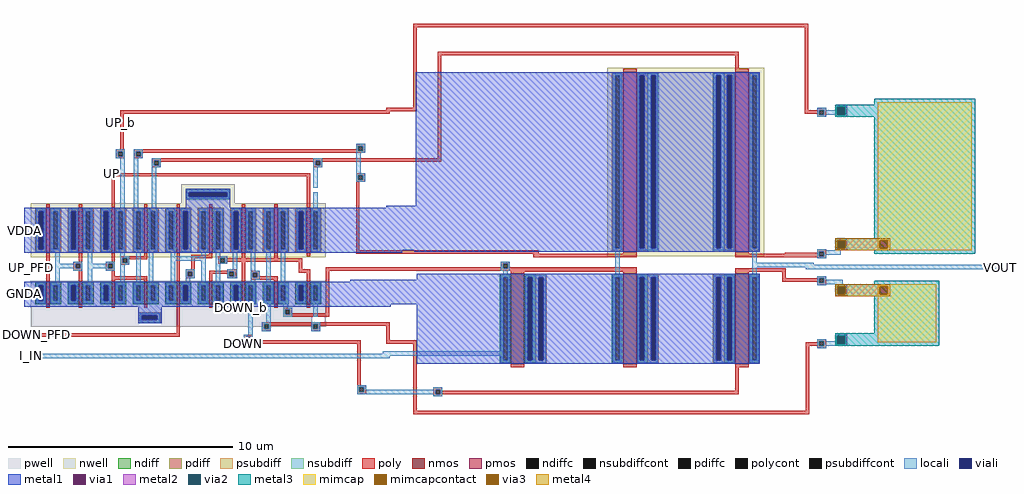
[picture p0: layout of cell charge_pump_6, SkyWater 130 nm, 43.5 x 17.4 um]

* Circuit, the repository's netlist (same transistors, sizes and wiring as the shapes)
* NGSPICE file created from charge_pump_6.ext - technology: sky130A

**.subckt charge_pump_6
X0 DOWN DOWN_b VDDA VDDA sky130_fd_pr__pfet_01v8 ad=1 pd=5 as=1 ps=5 w=2 l=0.15
X1 UP_b UP GNDA GNDA sky130_fd_pr__nfet_01v8 ad=0.5 pd=3 as=0.5 ps=3 w=1 l=0.15
X2 GNDA I_IN I_IN GNDA sky130_fd_pr__nfet_01v8 ad=2 pd=9 as=2 ps=9 w=4 l=0.6
X3 UP a_n5970_20# GNDA GNDA sky130_fd_pr__nfet_01v8 ad=0.5 pd=3 as=0.5 ps=3 w=1 l=0.15
X4 UP_b UP VDDA VDDA sky130_fd_pr__pfet_01v8 ad=1 pd=5 as=1 ps=5 w=2 l=0.15
X5 a_n5970_20# UP_PFD GNDA GNDA sky130_fd_pr__nfet_01v8 ad=0.5 pd=3 as=0.5 ps=3 w=1 l=0.15
X6 a_n3650_20# DOWN_b GNDA GNDA sky130_fd_pr__nfet_01v8 ad=0.5 pd=3 as=0.5 ps=3 w=1 l=0.15
X7 I_IN DOWN DOWN GNDA sky130_fd_pr__nfet_01v8 ad=0.5 pd=3 as=0.5 ps=3 w=1 l=0.15
X8 DOWN_b GNDA a_n4940_20# VDDA sky130_fd_pr__pfet_01v8 ad=1 pd=5 as=1 ps=5 w=2 l=0.15
X9 VOUT UP_b VDDA VDDA sky130_fd_pr__pfet_01v8 ad=4 pd=17 as=4 ps=17 w=8 l=0.6
X10 GNDA I_IN a_n960_n510# GNDA sky130_fd_pr__nfet_01v8 ad=2 pd=9 as=2 ps=9 w=4 l=0.6
X11 DOWN DOWN sky130_fd_pr__cap_mim_m3_1 l=2.6 w=2.6
X12 UP a_n5970_20# VDDA VDDA sky130_fd_pr__pfet_01v8 ad=1 pd=5 as=1 ps=5 w=2 l=0.15
X13 a_n3650_480# UP VDDA VDDA sky130_fd_pr__pfet_01v8 ad=1 pd=5 as=1 ps=5 w=2 l=0.15
X14 DOWN DOWN_b GNDA GNDA sky130_fd_pr__nfet_01v8 ad=0.5 pd=3 as=0.5 ps=3 w=1 l=0.15
X15 UP_b UP_b sky130_fd_pr__cap_mim_m3_1 l=6.6 w=4.2
X16 DOWN_b VDDA a_n4940_20# GNDA sky130_fd_pr__nfet_01v8 ad=0.5 pd=3 as=0.5 ps=3 w=1 l=0.15
X17 a_n5970_20# UP_PFD VDDA VDDA sky130_fd_pr__pfet_01v8 ad=1 pd=5 as=1 ps=5 w=2 l=0.15
X18 GNDA DOWN_PFD a_n4940_20# GNDA sky130_fd_pr__nfet_01v8 ad=0.5 pd=3 as=0.5 ps=3 w=1 l=0.15
X19 VDDA a_n5230_20# a_n960_n510# VDDA sky130_fd_pr__pfet_01v8 ad=4 pd=17 as=4 ps=17 w=8 l=0.6
X20 VDDA DOWN_PFD a_n4940_20# VDDA sky130_fd_pr__pfet_01v8 ad=1 pd=5 as=1 ps=5 w=2 l=0.15
X21 VOUT DOWN GNDA GNDA sky130_fd_pr__nfet_01v8 ad=2 pd=9 as=2 ps=9 w=4 l=0.6
X22 UP_b UP_b a_n5230_20# VDDA sky130_fd_pr__pfet_01v8 ad=1 pd=5 as=1 ps=5 w=2 l=0.15
X23 I_IN DOWN_b DOWN VDDA sky130_fd_pr__pfet_01v8 ad=1 pd=5 as=1 ps=5 w=2 l=0.15
X24 UP_b UP a_n5230_20# GNDA sky130_fd_pr__nfet_01v8 ad=0.5 pd=3 as=0.5 ps=3 w=1 l=0.15
.ends

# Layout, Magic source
magic
tech sky130A
<< nwell >>
rect -2400 460 -2160 545
rect -3070 220 -1755 460
rect -500 225 200 1065
<< pwell >>
rect -2565 120 -2550 125
rect -3070 -45 -1755 115
rect -3070 -70 -1815 -45
rect -1760 -70 -1755 -45
rect -3070 -90 -1755 -70
rect -2100 -165 -2080 -90
<< nmos >>
rect -3000 10 -2985 110
rect -2855 10 -2840 110
rect -2710 10 -2695 110
rect -2565 10 -2550 110
rect -2420 10 -2405 110
rect -2275 10 -2260 110
rect -2130 10 -2115 110
rect -1985 10 -1970 110
rect -1840 10 -1825 110
rect -930 -255 -870 145
rect -430 -255 -370 145
rect 70 -255 130 145
<< pmos >>
rect -3000 240 -2985 440
rect -2855 240 -2840 440
rect -2710 240 -2695 440
rect -2565 240 -2550 440
rect -2420 240 -2405 440
rect -2275 240 -2260 440
rect -2130 240 -2115 440
rect -1985 240 -1970 440
rect -1840 240 -1825 440
rect -430 245 -370 1045
rect 70 245 130 1045
<< ndiff >>
rect -3050 95 -3000 110
rect -3050 25 -3035 95
rect -3015 25 -3000 95
rect -3050 10 -3000 25
rect -2985 95 -2935 110
rect -2985 25 -2970 95
rect -2950 25 -2935 95
rect -2985 10 -2935 25
rect -2905 95 -2855 110
rect -2905 25 -2890 95
rect -2870 25 -2855 95
rect -2905 10 -2855 25
rect -2840 95 -2790 110
rect -2840 25 -2825 95
rect -2805 25 -2790 95
rect -2840 10 -2790 25
rect -2760 95 -2710 110
rect -2760 25 -2745 95
rect -2725 25 -2710 95
rect -2760 10 -2710 25
rect -2695 95 -2645 110
rect -2695 25 -2680 95
rect -2660 25 -2645 95
rect -2695 10 -2645 25
rect -2615 95 -2565 110
rect -2615 25 -2600 95
rect -2580 25 -2565 95
rect -2615 10 -2565 25
rect -2550 95 -2500 110
rect -2550 25 -2535 95
rect -2515 25 -2500 95
rect -2550 10 -2500 25
rect -2470 95 -2420 110
rect -2470 25 -2455 95
rect -2435 25 -2420 95
rect -2470 10 -2420 25
rect -2405 95 -2355 110
rect -2405 25 -2390 95
rect -2370 25 -2355 95
rect -2405 10 -2355 25
rect -2325 95 -2275 110
rect -2325 25 -2310 95
rect -2290 25 -2275 95
rect -2325 10 -2275 25
rect -2260 95 -2210 110
rect -2260 25 -2245 95
rect -2225 25 -2210 95
rect -2260 10 -2210 25
rect -2180 95 -2130 110
rect -2180 25 -2165 95
rect -2145 25 -2130 95
rect -2180 10 -2130 25
rect -2115 95 -2065 110
rect -2115 25 -2100 95
rect -2080 25 -2065 95
rect -2115 10 -2065 25
rect -2035 95 -1985 110
rect -2035 25 -2020 95
rect -2000 25 -1985 95
rect -2035 10 -1985 25
rect -1970 95 -1920 110
rect -1970 25 -1955 95
rect -1935 25 -1920 95
rect -1970 10 -1920 25
rect -1890 95 -1840 110
rect -1890 25 -1875 95
rect -1855 25 -1840 95
rect -1890 10 -1840 25
rect -1825 95 -1775 110
rect -1825 25 -1810 95
rect -1790 25 -1775 95
rect -1825 10 -1775 25
rect -980 130 -930 145
rect -980 -240 -965 130
rect -945 -240 -930 130
rect -980 -255 -930 -240
rect -870 130 -820 145
rect -870 -240 -855 130
rect -835 -240 -820 130
rect -870 -255 -820 -240
rect -480 130 -430 145
rect -480 -240 -465 130
rect -445 -240 -430 130
rect -480 -255 -430 -240
rect -370 130 -320 145
rect -370 -240 -355 130
rect -335 -240 -320 130
rect -370 -255 -320 -240
rect 20 130 70 145
rect 20 -240 35 130
rect 55 -240 70 130
rect 20 -255 70 -240
rect 130 130 180 145
rect 130 -240 145 130
rect 165 -240 180 130
rect 130 -255 180 -240
<< pdiff >>
rect -480 1030 -430 1045
rect -3050 425 -3000 440
rect -3050 255 -3035 425
rect -3015 255 -3000 425
rect -3050 240 -3000 255
rect -2985 425 -2935 440
rect -2985 255 -2970 425
rect -2950 255 -2935 425
rect -2985 240 -2935 255
rect -2905 425 -2855 440
rect -2905 255 -2890 425
rect -2870 255 -2855 425
rect -2905 240 -2855 255
rect -2840 425 -2790 440
rect -2840 255 -2825 425
rect -2805 255 -2790 425
rect -2840 240 -2790 255
rect -2760 425 -2710 440
rect -2760 255 -2745 425
rect -2725 255 -2710 425
rect -2760 240 -2710 255
rect -2695 425 -2645 440
rect -2695 255 -2680 425
rect -2660 255 -2645 425
rect -2695 240 -2645 255
rect -2615 425 -2565 440
rect -2615 255 -2600 425
rect -2580 255 -2565 425
rect -2615 240 -2565 255
rect -2550 425 -2500 440
rect -2550 255 -2535 425
rect -2515 255 -2500 425
rect -2550 240 -2500 255
rect -2470 425 -2420 440
rect -2470 255 -2455 425
rect -2435 255 -2420 425
rect -2470 240 -2420 255
rect -2405 425 -2355 440
rect -2405 255 -2390 425
rect -2370 255 -2355 425
rect -2405 240 -2355 255
rect -2325 425 -2275 440
rect -2325 255 -2310 425
rect -2290 255 -2275 425
rect -2325 240 -2275 255
rect -2260 425 -2210 440
rect -2260 255 -2245 425
rect -2225 255 -2210 425
rect -2260 240 -2210 255
rect -2180 425 -2130 440
rect -2180 255 -2165 425
rect -2145 255 -2130 425
rect -2180 240 -2130 255
rect -2115 425 -2065 440
rect -2115 255 -2100 425
rect -2080 255 -2065 425
rect -2115 240 -2065 255
rect -2035 425 -1985 440
rect -2035 255 -2020 425
rect -2000 255 -1985 425
rect -2035 240 -1985 255
rect -1970 425 -1920 440
rect -1970 255 -1955 425
rect -1935 255 -1920 425
rect -1970 240 -1920 255
rect -1890 425 -1840 440
rect -1890 255 -1875 425
rect -1855 255 -1840 425
rect -1890 240 -1840 255
rect -1825 425 -1775 440
rect -1825 255 -1810 425
rect -1790 255 -1775 425
rect -1825 240 -1775 255
rect -480 260 -465 1030
rect -445 260 -430 1030
rect -480 245 -430 260
rect -370 1030 -320 1045
rect -370 260 -355 1030
rect -335 260 -320 1030
rect -370 245 -320 260
rect 20 1030 70 1045
rect 20 260 35 1030
rect 55 260 70 1030
rect 20 245 70 260
rect 130 1030 180 1045
rect 130 260 145 1030
rect 165 260 180 1030
rect 130 245 180 260
<< ndiffc >>
rect -3035 25 -3015 95
rect -2970 25 -2950 95
rect -2890 25 -2870 95
rect -2825 25 -2805 95
rect -2745 25 -2725 95
rect -2680 25 -2660 95
rect -2600 25 -2580 95
rect -2535 25 -2515 95
rect -2455 25 -2435 95
rect -2390 25 -2370 95
rect -2310 25 -2290 95
rect -2245 25 -2225 95
rect -2165 25 -2145 95
rect -2100 25 -2080 95
rect -2020 25 -2000 95
rect -1955 25 -1935 95
rect -1875 25 -1855 95
rect -1810 25 -1790 95
rect -965 -240 -945 130
rect -855 -240 -835 130
rect -465 -240 -445 130
rect -355 -240 -335 130
rect 35 -240 55 130
rect 145 -240 165 130
<< pdiffc >>
rect -3035 255 -3015 425
rect -2970 255 -2950 425
rect -2890 255 -2870 425
rect -2825 255 -2805 425
rect -2745 255 -2725 425
rect -2680 255 -2660 425
rect -2600 255 -2580 425
rect -2535 255 -2515 425
rect -2455 255 -2435 425
rect -2390 255 -2370 425
rect -2310 255 -2290 425
rect -2245 255 -2225 425
rect -2165 255 -2145 425
rect -2100 255 -2080 425
rect -2020 255 -2000 425
rect -1955 255 -1935 425
rect -1875 255 -1855 425
rect -1810 255 -1790 425
rect -465 260 -445 1030
rect -355 260 -335 1030
rect 35 260 55 1030
rect 145 260 165 1030
<< psubdiff >>
rect -2590 -40 -2490 -25
rect -2590 -60 -2575 -40
rect -2505 -60 -2490 -40
rect -2590 -75 -2490 -60
rect -820 130 -770 145
rect -820 -240 -805 130
rect -785 -240 -770 130
rect -820 -255 -770 -240
rect -320 130 -270 145
rect -320 -240 -305 130
rect -285 -240 -270 130
rect -320 -255 -270 -240
rect -30 130 20 145
rect -30 -240 -15 130
rect 5 -240 20 130
rect -30 -255 20 -240
<< nsubdiff >>
rect -2380 510 -2180 525
rect -2380 490 -2365 510
rect -2195 490 -2180 510
rect -2380 475 -2180 490
rect -320 1030 -270 1045
rect -320 260 -305 1030
rect -285 260 -270 1030
rect -320 245 -270 260
rect -30 1030 20 1045
rect -30 260 -15 1030
rect 5 260 20 1030
rect -30 245 20 260
<< psubdiffcont >>
rect -2575 -60 -2505 -40
rect -805 -240 -785 130
rect -305 -240 -285 130
rect -15 -240 5 130
<< nsubdiffcont >>
rect -2365 490 -2195 510
rect -305 260 -285 1030
rect -15 260 5 1030
<< poly >>
rect -1365 1245 395 1260
rect -1365 885 -1350 1245
rect -1485 875 -1350 885
rect -2670 870 -1350 875
rect -1255 1120 85 1135
rect -2670 860 -1470 870
rect -2670 700 -2655 860
rect -1620 715 -1580 725
rect -1620 700 -1610 715
rect -2690 690 -2650 700
rect -2690 670 -2680 690
rect -2660 670 -2650 690
rect -2690 660 -2650 670
rect -2610 695 -1610 700
rect -1590 695 -1580 715
rect -2610 690 -1580 695
rect -2610 670 -2600 690
rect -2580 685 -1580 690
rect -2580 670 -2570 685
rect -2610 660 -2570 670
rect -1255 660 -1240 1120
rect 70 1060 85 1120
rect -430 1045 -370 1060
rect 70 1045 130 1060
rect -2530 650 -1240 660
rect -2530 630 -2520 650
rect -2500 645 -1800 650
rect -2500 630 -2490 645
rect -2530 620 -2490 630
rect -1810 630 -1800 645
rect -1780 645 -1240 650
rect -1780 630 -1770 645
rect -1810 620 -1770 630
rect -2710 580 -1825 595
rect -3000 440 -2985 455
rect -2855 440 -2840 455
rect -2710 440 -2695 580
rect -2565 440 -2550 455
rect -2420 440 -2405 455
rect -2275 440 -2260 455
rect -2130 440 -2115 455
rect -1985 440 -1970 455
rect -1840 440 -1825 580
rect -1620 585 -1580 595
rect -1620 565 -1610 585
rect -1590 565 -1580 585
rect -1620 555 -1580 565
rect -1620 250 -1605 555
rect -3000 185 -2985 240
rect -2855 200 -2840 240
rect -2710 200 -2695 240
rect -2565 225 -2550 240
rect -3065 170 -2985 185
rect -3000 110 -2985 170
rect -2880 190 -2840 200
rect -2880 170 -2870 190
rect -2850 170 -2840 190
rect -2880 160 -2840 170
rect -2735 190 -2695 200
rect -2735 170 -2725 190
rect -2705 170 -2695 190
rect -2670 215 -2550 225
rect -2670 195 -2660 215
rect -2640 210 -2550 215
rect -2640 195 -2630 210
rect -2670 185 -2630 195
rect -2735 160 -2695 170
rect -2855 110 -2840 160
rect -2710 135 -2695 160
rect -2710 120 -2550 135
rect -2710 110 -2695 120
rect -2565 110 -2550 120
rect -2420 110 -2405 240
rect -2275 230 -2260 240
rect -2355 215 -2260 230
rect -2235 215 -2195 225
rect -2130 215 -2115 240
rect -1985 215 -1970 240
rect -1840 225 -1825 240
rect -1620 235 -805 250
rect 380 875 395 1245
rect 435 875 475 885
rect 380 860 445 875
rect 435 855 445 860
rect 465 855 475 875
rect 435 845 475 855
rect 435 245 475 255
rect -430 235 -370 245
rect -830 220 -370 235
rect 70 235 130 245
rect 435 240 445 245
rect 290 235 445 240
rect 70 225 445 235
rect 465 225 475 245
rect 70 220 475 225
rect 435 215 475 220
rect -2355 165 -2340 215
rect -2235 195 -2225 215
rect -2205 200 -1860 215
rect -2205 195 -2195 200
rect -2235 190 -2195 195
rect -2380 155 -2340 165
rect -2195 160 -2155 165
rect -2380 135 -2370 155
rect -2350 135 -2340 155
rect -2380 125 -2340 135
rect -2275 155 -2155 160
rect -2275 145 -2185 155
rect -2275 110 -2260 145
rect -2195 135 -2185 145
rect -2165 135 -2155 155
rect -2195 125 -2155 135
rect -2130 110 -2115 200
rect -1875 165 -1860 200
rect -975 190 -935 200
rect -975 175 -965 190
rect -1755 170 -965 175
rect -945 175 -935 190
rect -945 170 -370 175
rect -2090 150 -2050 160
rect -1875 150 -1825 165
rect -2090 130 -2080 150
rect -2060 135 -2050 150
rect -2060 130 -1970 135
rect -2090 120 -1970 130
rect -1985 110 -1970 120
rect -1840 110 -1825 150
rect -1755 160 -370 170
rect -3000 -5 -2985 10
rect -2855 -5 -2840 10
rect -2710 -5 -2695 10
rect -2565 -5 -2550 10
rect -2420 -120 -2405 10
rect -2275 -5 -2260 10
rect -2130 -5 -2115 10
rect -1985 -5 -1970 10
rect -1840 -5 -1825 10
rect -1945 -15 -1905 -5
rect -1945 -35 -1935 -15
rect -1915 -30 -1905 -15
rect -1755 -30 -1740 160
rect -930 155 -370 160
rect -930 145 -870 155
rect -430 145 -370 155
rect 70 155 295 170
rect 70 145 130 155
rect -1915 -35 -1740 -30
rect -1945 -45 -1740 -35
rect -2040 -80 -1470 -70
rect -2040 -100 -2030 -80
rect -2010 -85 -1810 -80
rect -2010 -100 -2000 -85
rect -2040 -110 -2000 -100
rect -1820 -100 -1810 -85
rect -1790 -85 -1470 -80
rect -1790 -100 -1780 -85
rect -1820 -110 -1780 -100
rect -3065 -135 -2405 -120
rect -2120 -135 -2080 -125
rect -2120 -155 -2110 -135
rect -2090 -150 -2080 -135
rect -1485 -150 -1470 -85
rect -2090 -155 -1600 -150
rect -2120 -165 -1600 -155
rect -1485 -165 -1350 -150
rect -1615 -350 -1600 -165
rect -1615 -360 -1575 -350
rect -1615 -380 -1605 -360
rect -1585 -380 -1575 -360
rect -1615 -390 -1575 -380
rect -1365 -465 -1350 -165
rect 280 125 295 155
rect 435 125 475 135
rect 280 110 445 125
rect 435 105 445 110
rect 465 105 475 125
rect 435 95 475 105
rect 435 -155 475 -145
rect 435 -160 445 -155
rect 385 -175 445 -160
rect 465 -175 475 -155
rect -930 -270 -870 -255
rect -430 -270 -370 -255
rect 70 -270 130 -255
rect -1275 -370 -1235 -360
rect -1275 -390 -1265 -370
rect -1245 -375 -1235 -370
rect 70 -375 85 -270
rect -1245 -390 85 -375
rect -1275 -400 -1235 -390
rect 385 -465 400 -175
rect 435 -185 475 -175
rect -1365 -480 400 -465
<< polycont >>
rect -2680 670 -2660 690
rect -1610 695 -1590 715
rect -2600 670 -2580 690
rect -2520 630 -2500 650
rect -1800 630 -1780 650
rect -1610 565 -1590 585
rect -2870 170 -2850 190
rect -2725 170 -2705 190
rect -2660 195 -2640 215
rect 445 855 465 875
rect 445 225 465 245
rect -2225 195 -2205 215
rect -2370 135 -2350 155
rect -2185 135 -2165 155
rect -965 170 -945 190
rect -2080 130 -2060 150
rect -1935 -35 -1915 -15
rect -2030 -100 -2010 -80
rect -1810 -100 -1790 -80
rect -2110 -155 -2090 -135
rect -1605 -380 -1585 -360
rect 445 105 465 125
rect 445 -175 465 -155
rect -1265 -390 -1245 -370
<< locali >>
rect -475 1030 -435 1040
rect -1620 715 -1580 725
rect -2690 690 -2650 700
rect -2690 670 -2680 690
rect -2660 670 -2650 690
rect -2690 660 -2650 670
rect -2670 435 -2650 660
rect -3045 425 -3005 435
rect -3045 255 -3035 425
rect -3015 255 -3005 425
rect -3045 245 -3005 255
rect -2980 425 -2940 435
rect -2980 255 -2970 425
rect -2950 255 -2940 425
rect -2980 245 -2940 255
rect -2900 425 -2860 435
rect -2900 255 -2890 425
rect -2870 255 -2860 425
rect -2900 245 -2860 255
rect -2835 425 -2795 435
rect -2835 255 -2825 425
rect -2805 255 -2795 425
rect -2835 245 -2795 255
rect -2755 425 -2715 435
rect -2755 255 -2745 425
rect -2725 255 -2715 425
rect -2755 245 -2715 255
rect -2690 425 -2650 435
rect -2690 255 -2680 425
rect -2660 255 -2650 425
rect -2690 245 -2650 255
rect -2610 690 -2570 700
rect -2610 670 -2600 690
rect -2580 670 -2570 690
rect -2610 660 -2570 670
rect -1620 695 -1610 715
rect -1590 695 -1580 715
rect -1620 685 -1580 695
rect -2610 435 -2590 660
rect -2530 650 -2490 660
rect -2530 630 -2520 650
rect -2500 630 -2490 650
rect -2530 620 -2490 630
rect -1810 650 -1770 660
rect -1810 630 -1800 650
rect -1780 630 -1770 650
rect -1810 620 -1770 630
rect -2530 435 -2510 620
rect -1810 530 -1790 620
rect -1620 595 -1600 685
rect -1620 585 -1580 595
rect -1620 565 -1610 585
rect -1590 565 -1580 585
rect -1620 555 -1580 565
rect -2375 510 -2185 520
rect -2375 490 -2365 510
rect -2195 490 -2185 510
rect -2375 480 -2185 490
rect -1810 435 -1790 510
rect -2610 425 -2570 435
rect -2610 255 -2600 425
rect -2580 255 -2570 425
rect -2610 245 -2570 255
rect -2545 425 -2505 435
rect -2545 255 -2535 425
rect -2515 255 -2505 425
rect -2545 245 -2505 255
rect -2465 425 -2425 435
rect -2465 255 -2455 425
rect -2435 255 -2425 425
rect -2465 245 -2425 255
rect -2400 425 -2360 435
rect -2400 255 -2390 425
rect -2370 275 -2360 425
rect -2320 425 -2280 435
rect -2370 255 -2355 275
rect -2400 245 -2355 255
rect -2320 255 -2310 425
rect -2290 255 -2280 425
rect -2320 245 -2280 255
rect -2255 425 -2215 435
rect -2255 255 -2245 425
rect -2225 255 -2215 425
rect -2255 245 -2215 255
rect -2175 425 -2135 435
rect -2175 255 -2165 425
rect -2145 255 -2135 425
rect -2175 245 -2135 255
rect -2110 425 -2070 435
rect -2110 255 -2100 425
rect -2080 255 -2070 425
rect -2110 245 -2070 255
rect -2030 425 -1990 435
rect -2030 255 -2020 425
rect -2000 255 -1990 425
rect -2030 245 -1990 255
rect -1965 425 -1925 435
rect -1965 255 -1955 425
rect -1935 255 -1925 425
rect -1965 245 -1925 255
rect -1885 425 -1845 435
rect -1885 255 -1875 425
rect -1855 255 -1845 425
rect -1885 245 -1845 255
rect -1820 425 -1780 435
rect -1820 255 -1810 425
rect -1790 255 -1780 425
rect -1820 245 -1780 255
rect -475 260 -465 1030
rect -445 260 -435 1030
rect -475 250 -435 260
rect -365 1030 -275 1040
rect -365 260 -355 1030
rect -335 260 -305 1030
rect -285 260 -275 1030
rect -365 250 -275 260
rect -25 1030 65 1040
rect -25 260 -15 1030
rect 5 260 35 1030
rect 55 260 65 1030
rect -25 250 65 260
rect 135 1030 175 1040
rect 135 260 145 1030
rect 165 260 175 1030
rect 515 890 570 900
rect 435 875 475 885
rect 515 875 525 890
rect 435 855 445 875
rect 465 855 525 875
rect 560 855 570 890
rect 435 845 475 855
rect 515 845 570 855
rect 135 250 175 260
rect 515 295 570 305
rect 515 260 525 295
rect 560 260 570 295
rect 435 250 475 255
rect 515 250 570 260
rect -2960 190 -2940 245
rect -2880 190 -2840 200
rect -2960 170 -2870 190
rect -2850 170 -2840 190
rect -2960 105 -2940 170
rect -2880 160 -2840 170
rect -2815 190 -2795 245
rect -2670 225 -2650 245
rect -2670 215 -2630 225
rect -2735 190 -2695 200
rect -2815 170 -2725 190
rect -2705 170 -2695 190
rect -2815 105 -2795 170
rect -2735 160 -2695 170
rect -2670 195 -2660 215
rect -2640 195 -2630 215
rect -2670 185 -2630 195
rect -2670 105 -2650 185
rect -2600 105 -2580 245
rect -2545 105 -2525 245
rect -2445 225 -2425 245
rect -2310 225 -2290 245
rect -2445 205 -2290 225
rect -2445 105 -2425 205
rect -2380 155 -2340 165
rect -2380 135 -2370 155
rect -2350 135 -2340 155
rect -2380 125 -2340 135
rect -2380 105 -2360 125
rect -2310 105 -2290 205
rect -2245 225 -2225 245
rect -2245 215 -2195 225
rect -2245 195 -2225 215
rect -2205 195 -2195 215
rect -2245 190 -2195 195
rect -2245 105 -2225 190
rect -2170 165 -2150 245
rect -2195 155 -2150 165
rect -2195 135 -2185 155
rect -2165 135 -2150 155
rect -2195 125 -2150 135
rect -2090 160 -2070 245
rect -2090 150 -2050 160
rect -2090 130 -2080 150
rect -2060 130 -2050 150
rect -2090 120 -2050 130
rect -2090 105 -2070 120
rect -2020 105 -2000 245
rect -1955 105 -1935 245
rect -975 190 -935 200
rect -975 170 -965 190
rect -945 170 -935 190
rect -975 160 -935 170
rect -965 140 -945 160
rect -465 140 -445 250
rect 145 195 165 250
rect 435 245 540 250
rect 435 225 445 245
rect 465 230 540 245
rect 465 225 475 230
rect 435 215 475 225
rect 145 185 420 195
rect 145 175 1250 185
rect 145 140 165 175
rect 385 165 1250 175
rect -975 130 -935 140
rect -3045 95 -3005 105
rect -3045 25 -3035 95
rect -3015 25 -3005 95
rect -3045 15 -3005 25
rect -2980 95 -2940 105
rect -2980 25 -2970 95
rect -2950 25 -2940 95
rect -2980 15 -2940 25
rect -2900 95 -2860 105
rect -2900 25 -2890 95
rect -2870 25 -2860 95
rect -2900 15 -2860 25
rect -2835 95 -2795 105
rect -2835 25 -2825 95
rect -2805 25 -2795 95
rect -2835 15 -2795 25
rect -2755 95 -2715 105
rect -2755 25 -2745 95
rect -2725 25 -2715 95
rect -2755 15 -2715 25
rect -2690 95 -2650 105
rect -2690 25 -2680 95
rect -2660 25 -2650 95
rect -2690 15 -2650 25
rect -2610 95 -2570 105
rect -2610 25 -2600 95
rect -2580 25 -2570 95
rect -2610 15 -2570 25
rect -2545 95 -2505 105
rect -2545 25 -2535 95
rect -2515 25 -2505 95
rect -2545 15 -2505 25
rect -2465 95 -2425 105
rect -2465 25 -2455 95
rect -2435 25 -2425 95
rect -2465 15 -2425 25
rect -2400 95 -2360 105
rect -2400 25 -2390 95
rect -2370 25 -2360 95
rect -2400 15 -2360 25
rect -2320 95 -2280 105
rect -2320 25 -2310 95
rect -2290 25 -2280 95
rect -2320 15 -2280 25
rect -2255 95 -2215 105
rect -2255 25 -2245 95
rect -2225 25 -2215 95
rect -2255 15 -2215 25
rect -2175 95 -2135 105
rect -2175 25 -2165 95
rect -2145 25 -2135 95
rect -2175 15 -2135 25
rect -2110 95 -2070 105
rect -2110 25 -2100 95
rect -2080 25 -2070 95
rect -2110 15 -2070 25
rect -2030 95 -1990 105
rect -2030 25 -2020 95
rect -2000 25 -1990 95
rect -2030 15 -1990 25
rect -1965 95 -1920 105
rect -1965 25 -1955 95
rect -1935 25 -1920 95
rect -1965 15 -1920 25
rect -1885 95 -1845 105
rect -1885 25 -1875 95
rect -1855 25 -1845 95
rect -1885 15 -1845 25
rect -1820 95 -1780 105
rect -1820 25 -1810 95
rect -1790 25 -1780 95
rect -1820 15 -1780 25
rect -2585 -40 -2495 -30
rect -2585 -60 -2575 -40
rect -2505 -60 -2495 -40
rect -2585 -70 -2495 -60
rect -2100 -125 -2080 15
rect -2020 -70 -2000 15
rect -1945 -5 -1925 15
rect -1945 -15 -1905 -5
rect -1945 -35 -1935 -15
rect -1915 -35 -1905 -15
rect -1945 -45 -1905 -35
rect -1810 -45 -1790 15
rect -2040 -80 -2000 -70
rect -2040 -100 -2030 -80
rect -2010 -100 -2000 -80
rect -2040 -110 -2000 -100
rect -1820 -80 -1780 -70
rect -1820 -100 -1810 -80
rect -1790 -100 -1780 -80
rect -1820 -110 -1780 -100
rect -2120 -135 -2080 -125
rect -2120 -155 -2110 -135
rect -2090 -155 -2080 -135
rect -2120 -165 -2080 -155
rect -975 -200 -965 130
rect -1500 -210 -965 -200
rect -3065 -220 -965 -210
rect -3065 -230 -1470 -220
rect -975 -240 -965 -220
rect -945 -240 -935 130
rect -975 -250 -935 -240
rect -865 130 -775 140
rect -865 -240 -855 130
rect -835 -240 -805 130
rect -785 -240 -775 130
rect -865 -250 -775 -240
rect -475 130 -435 140
rect -475 -240 -465 130
rect -445 -240 -435 130
rect -475 -250 -435 -240
rect -365 130 -275 140
rect -365 -240 -355 130
rect -335 -240 -305 130
rect -285 -240 -275 130
rect -365 -250 -275 -240
rect -25 130 65 140
rect -25 -240 -15 130
rect 5 -240 35 130
rect 55 -240 65 130
rect -25 -250 65 -240
rect 135 130 175 140
rect 135 -240 145 130
rect 165 -240 175 130
rect 435 125 475 135
rect 435 105 445 125
rect 465 120 475 125
rect 465 105 550 120
rect 435 100 550 105
rect 435 95 475 100
rect 515 90 570 100
rect 515 55 525 90
rect 560 55 570 90
rect 515 45 570 55
rect 515 -130 570 -120
rect 435 -155 475 -145
rect 515 -155 525 -130
rect 435 -175 445 -155
rect 465 -165 525 -155
rect 560 -165 570 -130
rect 465 -175 570 -165
rect 435 -185 475 -175
rect 135 -250 175 -240
rect -1615 -360 -1575 -350
rect -1615 -380 -1605 -360
rect -1585 -370 -1575 -360
rect -1275 -370 -1235 -360
rect -1585 -380 -1265 -370
rect -1615 -390 -1265 -380
rect -1245 -390 -1235 -370
rect -1275 -400 -1235 -390
<< viali >>
rect -3035 255 -3015 425
rect -2890 255 -2870 425
rect -2745 255 -2725 425
rect -2365 490 -2195 510
rect -2390 255 -2370 425
rect -2165 255 -2145 425
rect -1875 255 -1855 425
rect -355 260 -335 1030
rect -305 260 -285 1030
rect -15 260 5 1030
rect 35 260 55 1030
rect 525 855 560 890
rect 525 260 560 295
rect -3035 25 -3015 95
rect -2890 25 -2870 95
rect -2745 25 -2725 95
rect -2390 25 -2370 95
rect -2165 25 -2145 95
rect -1875 25 -1855 95
rect -2575 -60 -2505 -40
rect -855 -240 -835 130
rect -805 -240 -785 130
rect -355 -240 -335 130
rect -305 -240 -285 130
rect -15 -240 5 130
rect 35 -240 55 130
rect 525 55 560 90
rect 525 -165 560 -130
<< metal1 >>
rect -1355 1030 180 1045
rect -2380 510 -2180 525
rect -2380 490 -2365 510
rect -2195 490 -2180 510
rect -2380 440 -2180 490
rect -1355 450 -355 1030
rect -1485 440 -355 450
rect -3100 425 -355 440
rect -3100 255 -3035 425
rect -3015 255 -2890 425
rect -2870 255 -2745 425
rect -2725 255 -2390 425
rect -2370 255 -2165 425
rect -2145 255 -1875 425
rect -1855 260 -355 425
rect -335 260 -305 1030
rect -285 260 -15 1030
rect 5 260 35 1030
rect 55 260 180 1030
rect 515 890 570 900
rect 515 855 525 890
rect 560 855 570 890
rect 515 845 570 855
rect -1855 255 180 260
rect -3100 250 180 255
rect 515 295 570 305
rect 515 260 525 295
rect 560 260 570 295
rect 515 250 570 260
rect -3100 240 -1415 250
rect -1360 245 180 250
rect -1350 130 180 145
rect -1350 120 -855 130
rect -1645 110 -855 120
rect -3100 95 -855 110
rect -3100 25 -3035 95
rect -3015 25 -2890 95
rect -2870 25 -2745 95
rect -2725 25 -2390 95
rect -2370 25 -2165 95
rect -2145 25 -1875 95
rect -1855 25 -855 95
rect -3100 10 -855 25
rect -3100 0 -1465 10
rect -2590 -40 -2485 0
rect -2590 -60 -2575 -40
rect -2505 -60 -2485 -40
rect -2590 -75 -2485 -60
rect -1350 -240 -855 10
rect -835 -240 -805 130
rect -785 -240 -355 130
rect -335 -240 -305 130
rect -285 -240 -15 130
rect 5 -240 35 130
rect 55 -240 180 130
rect 515 90 570 100
rect 515 55 525 90
rect 560 55 570 90
rect 515 45 570 55
rect 515 -130 570 -120
rect 515 -165 525 -130
rect 560 -165 570 -130
rect 515 -175 570 -165
rect -1350 -255 180 -240
<< via1 >>
rect 525 855 560 890
rect 525 260 560 295
rect 525 55 560 90
rect 525 -165 560 -130
<< metal2 >>
rect 515 890 570 900
rect 515 855 525 890
rect 560 855 570 890
rect 515 845 570 855
rect 515 295 570 305
rect 515 260 525 295
rect 560 260 570 295
rect 515 250 570 260
rect 515 90 570 100
rect 515 55 525 90
rect 560 55 570 90
rect 515 45 570 55
rect 515 -130 570 -120
rect 515 -165 525 -130
rect 560 -165 570 -130
rect 515 -175 570 -165
<< via2 >>
rect 525 855 560 890
rect 525 260 560 295
rect 525 55 560 90
rect 525 -165 560 -130
<< metal3 >>
rect 690 900 1140 925
rect 515 890 1140 900
rect 515 855 525 890
rect 560 855 1140 890
rect 515 845 1140 855
rect 690 305 1140 845
rect 515 295 1140 305
rect 515 260 525 295
rect 560 260 1140 295
rect 515 250 1140 260
rect 690 235 1140 250
rect 690 100 980 115
rect 515 90 980 100
rect 515 55 525 90
rect 560 55 980 90
rect 515 45 980 55
rect 690 -120 980 45
rect 515 -130 980 -120
rect 515 -165 525 -130
rect 560 -165 980 -130
rect 515 -175 980 -165
<< via3 >>
rect 525 260 560 295
rect 525 55 560 90
<< mimcap >>
rect 705 295 1125 910
rect 705 260 715 295
rect 750 260 1125 295
rect 705 250 1125 260
rect 705 90 965 100
rect 705 55 715 90
rect 750 55 965 90
rect 705 -160 965 55
<< mimcapcontact >>
rect 715 260 750 295
rect 715 55 750 90
<< metal4 >>
rect 515 295 760 305
rect 515 260 525 295
rect 560 260 715 295
rect 750 260 760 295
rect 515 250 760 260
rect 515 90 760 100
rect 515 55 525 90
rect 560 55 715 90
rect 750 55 760 90
rect 515 45 760 55
<< labels >>
flabel locali -3065 -220 -3065 -220 7 FreeSans 400 0 -200 0 I_IN
flabel poly -3065 -125 -3065 -125 7 FreeSans 400 0 -200 0 DOWN_PFD
flabel poly -3065 175 -3065 175 7 FreeSans 400 0 -200 0 UP_PFD
flabel metal1 -3100 340 -3100 340 7 FreeSans 400 0 -200 0 VDDA
flabel metal1 -3100 60 -3100 60 7 FreeSans 400 0 -200 0 GNDA
flabel locali 1250 175 1250 175 3 FreeSans 400 0 80 0 VOUT
flabel poly -2130 -5 -2130 -5 7 FreeSans 400 0 -200 -200 DOWN_b
flabel poly -2670 820 -2670 820 7 FreeSans 400 0 -200 0 UP_b
flabel poly -2120 -165 -2120 -165 7 FreeSans 400 0 -200 -200 DOWN
flabel poly -2710 595 -2710 595 7 FreeSans 400 0 -200 0 UP
<< end >>
